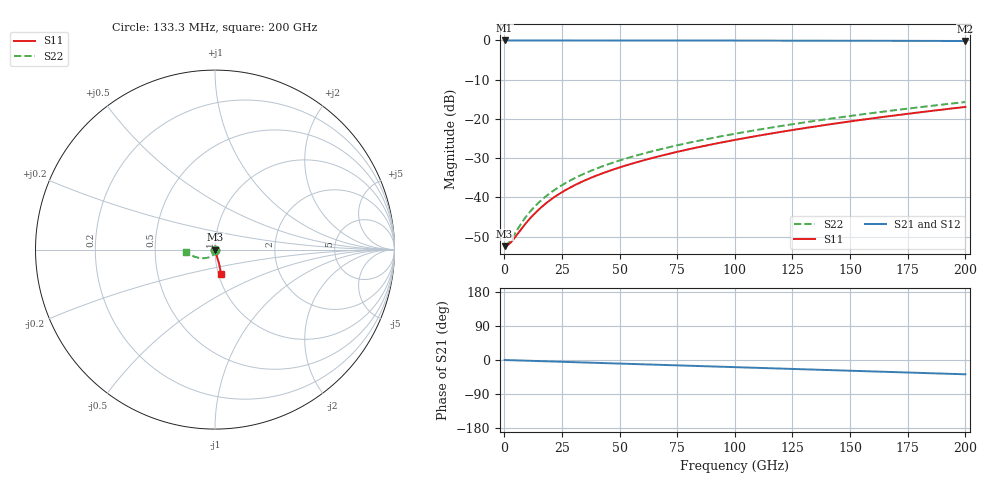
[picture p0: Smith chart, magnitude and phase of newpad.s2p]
#  Hz  S  RI  R  50
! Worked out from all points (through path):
!   1500 points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, 133.3 MHz to 200 GHz, reference 50 ohm
!   highest |S21| = -0.02 dB at 133.3 MHz (marker M1); lowest = -0.2 dB at 200 GHz (marker M2)
!   group delay of S21, straight-line fit = 523 fs
!   lowest |S11| = -52.4 dB at 133.3 MHz (marker M3), VSWR 1.00, Z = 50.2 - j0.00536 ohm
!   |S11| at or under -10 dB: start of sweep to end of sweep
!   |S22| runs from -52.3 to -15.7 dB; largest |S21 - S12| = 0.0051
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1.333333e8  0.00239 -5.33e-05  0.9976 -0.000438  0.9976 -0.00044  0.00242 -7.38e-05
8e8  0.00239 -0.00032  0.9976 -0.00263  0.9976 -0.00264  0.00242 -0.000443
1.466667e9  0.0024 -0.000587  0.9976 -0.00481  0.9976 -0.00484  0.00241 -0.000813
2.933333e9  0.00242 -0.00118  0.9975 -0.00962  0.9975 -0.00968  0.00239 -0.00163
6.8e9  0.00256 -0.00275  0.9972 -0.0223  0.9972 -0.0224  0.00227 -0.00379
9.333333e9  0.0027 -0.00381  0.9969 -0.0305  0.9969 -0.0307  0.00213 -0.00522
1.226667e10  0.0029 -0.00508  0.9965 -0.04  0.9964 -0.0402  0.0019 -0.00689
1.546667e10  0.00315 -0.0065  0.9958 -0.0504  0.9958 -0.0506  0.00156 -0.00874
1.92e10  0.00346 -0.00821  0.995 -0.0623  0.995 -0.0626  0.00102 -0.0109
2.346667e10  0.00381 -0.0102  0.9939 -0.076  0.9939 -0.0763  0.000206 -0.0134
2.826667e10  0.00422 -0.0125  0.9925 -0.0913  0.9926 -0.0917  -0.000963 -0.0162
3.346667e10  0.00469 -0.015  0.9908 -0.1079  0.9908 -0.1084  -0.00253 -0.0192
4.026667e10  0.00535 -0.0183  0.988 -0.1296  0.9881 -0.1303  -0.00502 -0.0229
4.8e10  0.00623 -0.0222  0.9843 -0.1543  0.9843 -0.1551  -0.00843 -0.0269
5.68e10  0.00739 -0.0267  0.9792 -0.1823  0.9792 -0.1832  -0.013 -0.0312
6.68e10  0.0089 -0.032  0.9724 -0.2139  0.9725 -0.2149  -0.019 -0.0356
8.226667e10  0.0115 -0.0408  0.9598 -0.2624  0.96 -0.2637  -0.0302 -0.0414
1.001333e11  0.015 -0.0519  0.9419 -0.3177  0.9422 -0.3193  -0.0455 -0.046
1.161333e11  0.0182 -0.0628  0.9228 -0.3664  0.9233 -0.3683  -0.0613 -0.0479
1.334667e11  0.0218 -0.0758  0.8989 -0.418  0.8996 -0.4203  -0.0802 -0.0473
1.668e11  0.0281 -0.1045  0.8435 -0.5131  0.8446 -0.5164  -0.1206 -0.0373
2e11  0.0321 -0.1383  0.7759 -0.6005  0.7777 -0.6052  -0.1633 -0.0141
